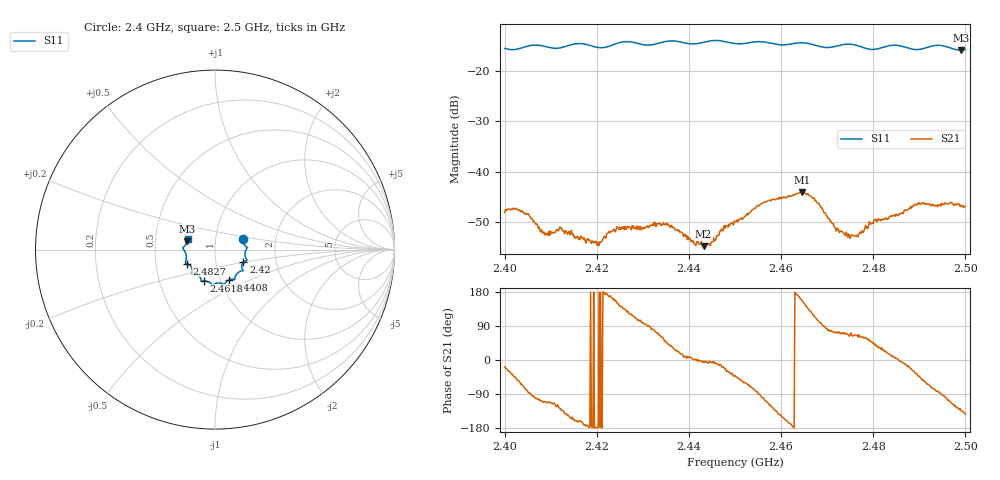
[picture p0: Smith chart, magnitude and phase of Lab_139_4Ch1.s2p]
# Hz S RI R 50
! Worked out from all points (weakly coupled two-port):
!   601 points, 2.4 GHz to 2.5 GHz, reference 50 ohm
!   highest |S21| = -44.17 dB at 2.4645 GHz (marker M1); lowest = -54.9 dB at 2.4432 GHz (marker M2)
!   lowest |S11| = -15.8 dB at 2.499 GHz (marker M3), VSWR 1.39, Z = 36.5 + j3.54 ohm
!   |S11| at or under -10 dB: start of sweep to end of sweep
!   S12 and S22 are empty: the file has one direction only
!   S11 on the Smith chart (normalised r, x): 2.4 GHz: 1.36, +0.17; 2.42 GHz: 1.36, -0.19; 2.4408 GHz: 1.10, -0.39; 2.4618 GHz: 0.84, -0.30; 2.4827 GHz: 0.72, -0.12; 2.5 GHz: 0.73, +0.09
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2.4e9  0.1562 0.0617  0.00373 -0.0012  0 0  0 0
2.405e9  0.1764 0.0145  0.000482 -0.00373  0 0  0 0
2.408667e9  0.1764 0.00487  -0.000785 -0.00222  0 0  0 0
2.412333e9  0.1678 -0.0338  -0.00187 -0.002  0 0  0 0
2.416667e9  0.178 -0.0594  -0.0021 -0.000667  0 0  0 0
2.42e9  0.158 -0.0694  -0.00188 -3.02e-05  0 0  0 0
2.424833e9  0.1546 -0.113  -0.00216 0.00153  0 0  0 0
2.433333e9  0.112 -0.152  0.000992 0.00284  0 0  0 0
2.440833e9  0.079 -0.1688  0.00206 7.59e-05  0 0  0 0
2.443167e9  0.0595 -0.1839  0.00179 -0.000198  0 0  0 0
2.45e9  0.0278 -0.1859  0.00239 -0.0021  0 0  0 0
2.456e9  -0.0146 -0.195  -0.000786 -0.00478  0 0  0 0
2.461833e9  -0.0603 -0.1752  -0.00551 -0.00122  0 0  0 0
2.4645e9  -0.0746 -0.1762  -0.00571 0.00239  0 0  0 0
2.466667e9  -0.0769 -0.1684  -0.00305 0.00462  0 0  0 0
2.472167e9  -0.1159 -0.1351  0.000851 0.0026  0 0  0 0
2.474833e9  -0.1269 -0.135  0.00108 0.00207  0 0  0 0
2.482667e9  -0.1574 -0.0777  0.00317 0.00133  0 0  0 0
2.483333e9  -0.1612 -0.0763  0.00326 0.000995  0 0  0 0
2.490167e9  -0.1633 -0.0202  0.00324 -0.00338  0 0  0 0
2.499e9  -0.1546 0.0473  -0.00315 -0.00333  0 0  0 0
2.5e9  -0.1519 0.0616  -0.00356 -0.00273  0 0  0 0
